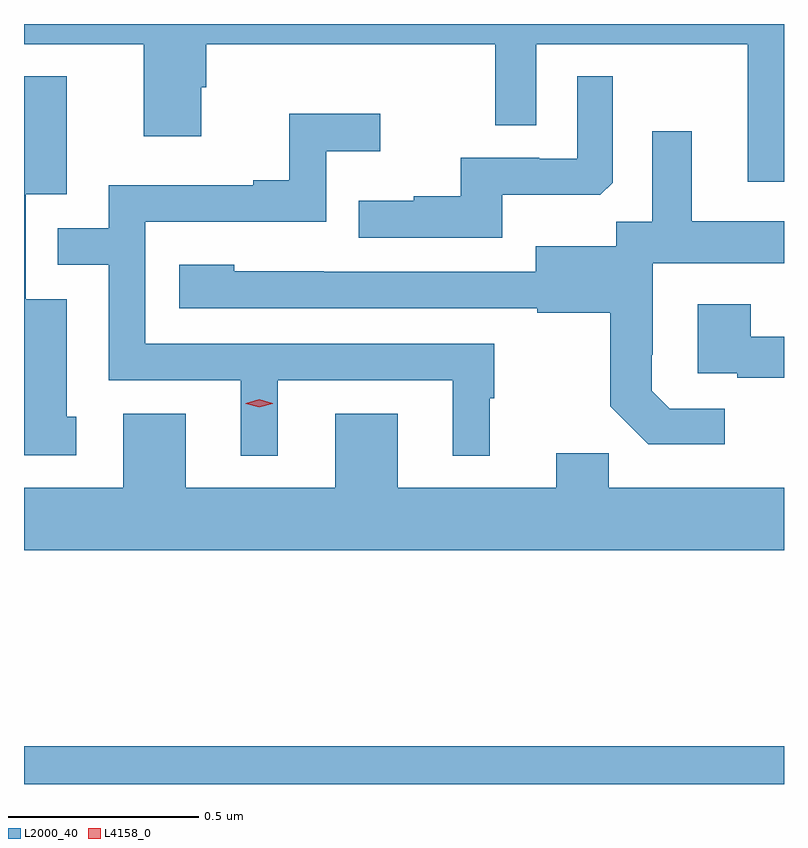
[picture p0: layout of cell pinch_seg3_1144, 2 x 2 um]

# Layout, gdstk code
import gdstk
lib = gdstk.Library(unit=1e-6, precision=1e-09)
def R(c, l, rs):  # rectangles x0, y0, x1, y1
    for r in rs: c.add(gdstk.rectangle(r[:2], r[2:], *l))
def P(c, l, *ps):  # polygons
    for p in ps: c.add(gdstk.Polygon(p, *l))
L2000_40 = (2000, 40)
L4158_0 = (4158, 0)

pinch_seg3_1144 = lib.new_cell('pinch_seg3_1144')
R(pinch_seg3_1144, L2000_40, [(150.446,742.925,152.446,743.024)])
P(pinch_seg3_1144, L2000_40, [(152.446,744.925),(150.446,744.925),(150.446,744.872),(150.761,744.872),(150.761,744.63),(150.913,744.63),(150.913,744.759),(150.926,744.759),(150.926,744.872),(151.686,744.872),(151.686,744.658),(151.794,744.658),(151.794,744.872),(152.351,744.872),(152.351,744.51),(152.446,744.51)],
  [(150.583,743.892),(150.559,743.892),(150.559,744.201),(150.45,744.201),(150.45,744.477),(150.559,744.477),(150.559,744.787),(150.446,744.787),(150.446,743.79),(150.583,743.79)],
  [(151.705,744.476),(151.963,744.476),(151.995,744.507),(151.995,744.787),(151.902,744.787),(151.902,744.57),(151.802,744.57),(151.802,744.573),(151.595,744.573),(151.595,744.472),(151.471,744.472),(151.471,744.46),(151.327,744.46),(151.327,744.363),(151.705,744.363)],
  [(151.114,743.988),(151.574,743.988),(151.574,743.789),(151.672,743.789),(151.672,743.94),(151.684,743.94),(151.684,744.084),(150.765,744.084),(150.765,744.405),(151.242,744.405),(151.242,744.59),(151.384,744.59),(151.384,744.689),(151.144,744.689),(151.144,744.514),(151.049,744.514),(151.049,744.501),(150.669,744.501),(150.669,744.387),(150.535,744.387),(150.535,744.291),(150.669,744.291),(150.669,743.988),(151.016,743.988),(151.016,743.789),(151.114,743.789)],
  [(152.29,743.913),(152.145,743.913),(152.098,743.96),(152.098,744.055),(152.1,744.055),(152.1,744.296),(152.446,744.296),(152.446,744.406),(152.203,744.406),(152.203,744.643),(152.099,744.643),(152.099,744.404),(152.004,744.404),(152.004,744.34),(151.793,744.34),(151.793,744.273),(151.235,744.273),(151.235,744.274),(150.999,744.274),(150.999,744.292),(150.855,744.292),(150.855,744.177),(151.797,744.177),(151.797,744.165),(151.989,744.165),(151.989,743.919),(152.089,743.819),(152.29,743.819)],
  [(152.446,744.102),(152.359,744.102),(152.359,744.187),(152.219,744.187),(152.219,744.006),(152.323,744.006),(152.323,743.994),(152.446,743.994)],
  [(152.446,743.704),(151.985,743.704),(151.985,743.795),(151.847,743.795),(151.847,743.704),(151.429,743.704),(151.429,743.899),(151.265,743.899),(151.265,743.704),(150.871,743.704),(150.871,743.899),(150.707,743.899),(150.707,743.704),(150.446,743.704),(150.446,743.54),(152.446,743.54)])
P(pinch_seg3_1144, L4158_0, [(151.065,743.917),(151.03,743.926),(151.03,743.927),(151.03,743.927),(151.065,743.937),(151.1,743.927),(151.1,743.927),(151.1,743.926)])

lib.write_gds('pinch_seg3_1144.gds')
